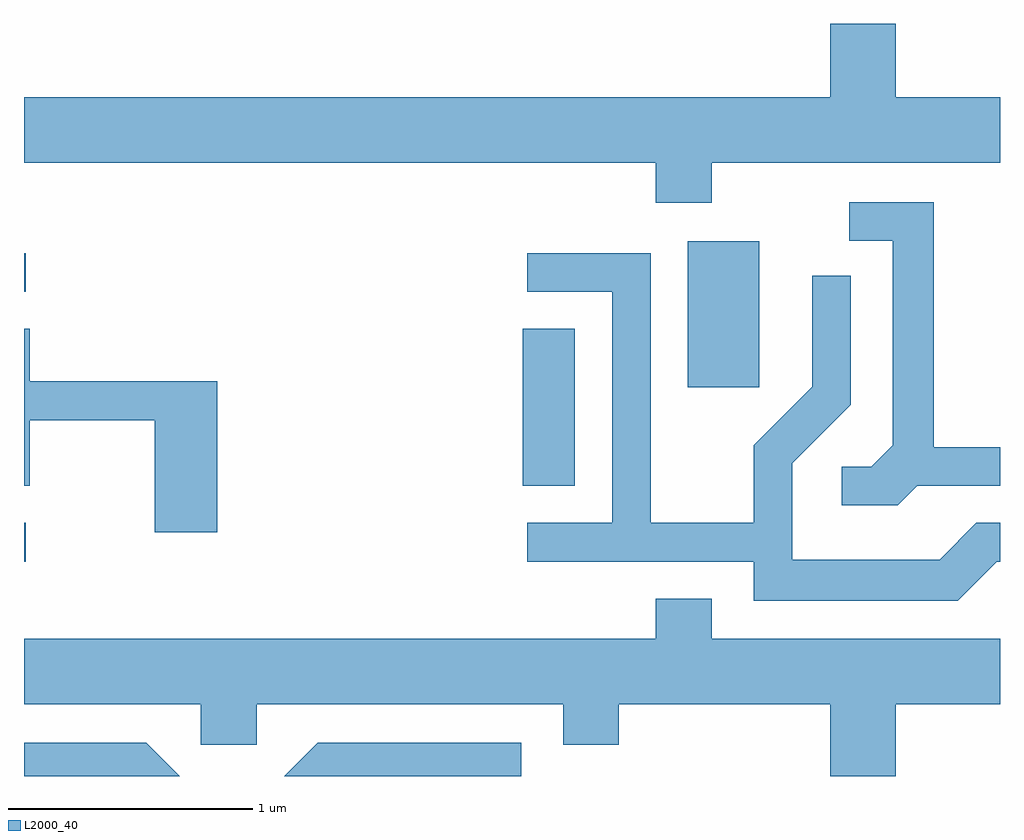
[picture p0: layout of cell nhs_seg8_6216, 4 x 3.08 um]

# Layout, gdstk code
import gdstk
lib = gdstk.Library(unit=1e-6, precision=1e-09)
def R(c, l, rs):  # rectangles x0, y0, x1, y1
    for r in rs: c.add(gdstk.rectangle(r[:2], r[2:], *l))
def P(c, l, *ps):  # polygons
    for p in ps: c.add(gdstk.Polygon(p, *l))
L2000_40 = (2000, 40)

nhs_seg8_6216 = lib.new_cell('nhs_seg8_6216')
R(nhs_seg8_6216, L2000_40, [(371.611,1839.221,371.618,1839.379), (373.656,1839.531,373.869,1840.174), (374.331,1839.936,374.624,1840.534), (371.611,1840.326,371.618,1840.484)])
P(nhs_seg8_6216, L2000_40, [(374.429,1840.856),(375.611,1840.856),(375.611,1841.124),(375.184,1841.124),(375.184,1841.424),(374.916,1841.424),(374.916,1841.124),(371.611,1841.124),(371.611,1840.856),(374.201,1840.856),(374.201,1840.691),(374.429,1840.691)],
  [(375.272,1839.531),(375.611,1839.531),(375.611,1839.689),(375.339,1839.689),(375.339,1840.694),(374.993,1840.694),(374.993,1840.536),(375.171,1840.536),(375.171,1839.697),(375.084,1839.609),(374.963,1839.609),(374.963,1839.451),(375.192,1839.451)],
  [(375.597,1839.221),(375.611,1839.221),(375.611,1839.379),(375.514,1839.379),(375.364,1839.229),(374.759,1839.229),(374.759,1839.624),(374.999,1839.864),(374.999,1840.393),(374.841,1840.393),(374.841,1839.937),(374.601,1839.697),(374.601,1839.379),(374.179,1839.379),(374.179,1840.484),(373.673,1840.484),(373.673,1840.326),(374.021,1840.326),(374.021,1839.379),(373.673,1839.379),(373.673,1839.221),(374.601,1839.221),(374.601,1839.061),(375.437,1839.061)],
  [(372.404,1839.959),(371.634,1839.959),(371.634,1840.174),(371.611,1840.174),(371.611,1839.531),(371.634,1839.531),(371.634,1839.801),(372.146,1839.801),(372.146,1839.341),(372.404,1839.341)],
  [(375.184,1838.636),(375.611,1838.636),(375.611,1838.904),(374.429,1838.904),(374.429,1839.069),(374.201,1839.069),(374.201,1838.904),(371.611,1838.904),(371.611,1838.636),(372.336,1838.636),(372.336,1838.471),(372.564,1838.471),(372.564,1838.636),(373.821,1838.636),(373.821,1838.471),(374.049,1838.471),(374.049,1838.636),(374.916,1838.636),(374.916,1838.342),(375.184,1838.342)],
  [(373.649,1838.479),(372.814,1838.479),(372.677,1838.342),(373.649,1838.342)],
  [(372.112,1838.479),(371.611,1838.479),(371.611,1838.342),(372.249,1838.342)])

lib.write_gds('nhs_seg8_6216.gds')
